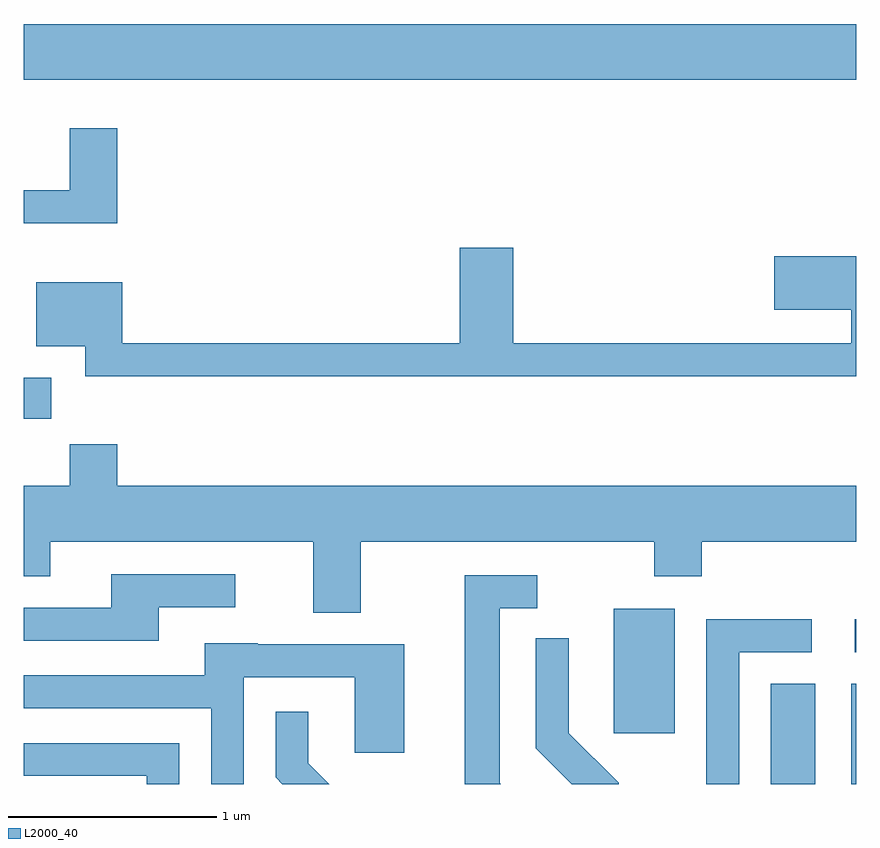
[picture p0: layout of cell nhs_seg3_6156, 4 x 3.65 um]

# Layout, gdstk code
import gdstk
lib = gdstk.Library(unit=1e-6, precision=1e-09)
def R(c, l, rs):  # rectangles x0, y0, x1, y1
    for r in rs: c.add(gdstk.rectangle(r[:2], r[2:], *l))
def P(c, l, *ps):  # polygons
    for p in ps: c.add(gdstk.Polygon(p, *l))
L2000_40 = (2000, 40)

nhs_seg3_6156 = lib.new_cell('nhs_seg3_6156')
R(nhs_seg3_6156, L2000_40, [(369.201,1195.892,369.414,1196.374), (369.586,1195.892,369.611,1196.374), (368.446,1196.136,368.739,1196.734), (369.603,1196.526,369.611,1196.684), (365.611,1197.646,365.744,1197.844), (365.611,1199.276,369.611,1199.544)])
P(nhs_seg3_6156, L2000_40, [(366.059,1199.044),(365.831,1199.044),(365.831,1198.744),(365.611,1198.744),(365.611,1198.586),(366.059,1198.586)],
  [(369.611,1198.429),(369.216,1198.429),(369.216,1198.171),(369.586,1198.171),(369.586,1198.009),(367.964,1198.009),(367.964,1198.469),(367.706,1198.469),(367.706,1198.009),(366.084,1198.009),(366.084,1198.304),(365.671,1198.304),(365.671,1197.996),(365.906,1197.996),(365.906,1197.851),(369.611,1197.851)],
  [(367.229,1197.056),(368.641,1197.056),(368.641,1196.891),(368.869,1196.891),(368.869,1197.056),(369.611,1197.056),(369.611,1197.324),(366.059,1197.324),(366.059,1197.524),(365.831,1197.524),(365.831,1197.324),(365.611,1197.324),(365.611,1196.891),(365.739,1196.891),(365.739,1197.056),(367.001,1197.056),(367.001,1196.716),(367.229,1196.716)],
  [(366.259,1196.741),(366.628,1196.741),(366.628,1196.899),(366.031,1196.899),(366.031,1196.739),(365.611,1196.739),(365.611,1196.581),(366.259,1196.581)],
  [(367.899,1195.897),(367.899,1196.736),(368.078,1196.736),(368.078,1196.894),(367.731,1196.894),(367.731,1195.892),(367.904,1195.892)],
  [(369.049,1196.526),(369.398,1196.526),(369.398,1196.684),(368.891,1196.684),(368.891,1195.892),(369.049,1195.892)],
  [(368.469,1195.897),(368.229,1196.137),(368.229,1196.593),(368.071,1196.593),(368.071,1196.064),(368.243,1195.892),(368.469,1195.892)],
  [(366.669,1196.406),(367.201,1196.406),(367.201,1196.041),(367.439,1196.041),(367.439,1196.564),(366.735,1196.564),(366.735,1196.569),(366.481,1196.569),(366.481,1196.414),(365.611,1196.414),(365.611,1196.256),(366.511,1196.256),(366.511,1195.892),(366.669,1195.892)],
  [(366.979,1195.992),(366.979,1196.238),(366.821,1196.238),(366.821,1195.924),(366.853,1195.892),(367.079,1195.892)],
  [(366.359,1196.089),(365.611,1196.089),(365.611,1195.931),(366.201,1195.931),(366.201,1195.892),(366.359,1195.892)])

lib.write_gds('nhs_seg3_6156.gds')
